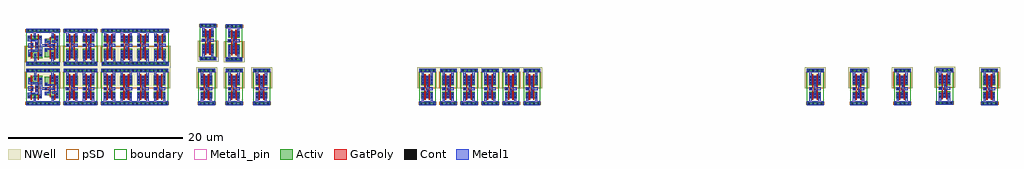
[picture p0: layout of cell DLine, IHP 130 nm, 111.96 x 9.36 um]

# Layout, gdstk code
import gdstk
lib = gdstk.Library(unit=1e-6, precision=1e-09)
def R(c, l, rs):  # rectangles x0, y0, x1, y1
    for r in rs: c.add(gdstk.rectangle(r[:2], r[2:], *l))
def A(c, l, x, y, w, h, nx, ny, dx, dy):  # array of equal rectangles
    R(c, l, [(x+i*dx, y+j*dy, x+i*dx+w, y+j*dy+h) for i in range(nx) for j in range(ny)])
def P(c, l, *ps):  # polygons
    for p in ps: c.add(gdstk.Polygon(p, *l))
Activ = (1, 0)
GatPoly = (5, 0)
Cont = (6, 0)
Metal1 = (8, 0)
Metal1_pin = (8, 2)
pSD = (14, 0)
NWell = (31, 0)
boundary = (189, 4)

sg13g2_dlygate4sd1_1 = lib.new_cell('sg13g2_dlygate4sd1_1')
R(sg13g2_dlygate4sd1_1, Activ, [(0,-0.15,3.84,0.15), (0.19,0.59,1.81,1.01), (0,3.63,3.84,3.93)])
P(sg13g2_dlygate4sd1_1, Activ, [(2.895,0.59),(2.895,0.91),(2.13,0.91),(2.13,1.33),(3.705,1.33),(3.705,0.59)],
  [(2.13,2.06),(2.13,3.06),(2.91,3.06),(2.91,3.18),(3.705,3.18),(3.705,2.06)],
  [(0.8,2.18),(0.8,2.555),(0.22,2.555),(0.22,2.975),(0.8,2.975),(0.8,3.18),(1.84,3.18),(1.84,2.18)])
P(sg13g2_dlygate4sd1_1, GatPoly, [(2.695,0.73),(2.695,1.52),(2.12,1.52),(2.12,1.85),(2.695,1.85),(2.695,3.24),(2.825,3.24),(2.825,0.73)],
  [(0.53,0.41),(0.53,1.74),(0.56,1.74),(0.56,3.155),(0.69,3.155),(0.69,1.74),(0.84,1.74),(0.84,1.41),(0.66,1.41),(0.66,0.41)],
  [(1.34,0.41),(1.34,1.35),(1.05,1.35),(1.05,2.02),(1.34,2.02),(1.34,3.36),(1.47,3.36),(1.47,0.41)],
  [(3.235,0.41),(3.235,1.515),(3.02,1.515),(3.02,1.845),(3.235,1.845),(3.235,3.36),(3.365,3.36),(3.365,0.41)])
A(sg13g2_dlygate4sd1_1, Cont, 0.16, -0.08, 0.16, 0.16, 8, 2, 0.48, 3.78)
A(sg13g2_dlygate4sd1_1, Cont, 0.26, 0.66, 0.16, 0.16, 3, 1, 0.66, 0)
A(sg13g2_dlygate4sd1_1, Cont, 3.475, 2.27, 0.16, 0.16, 1, 3, 0, 0.34)
R(sg13g2_dlygate4sd1_1, Cont, [(2.965,0.66,3.125,0.82), (3.475,0.66,3.635,0.82), (3.475,1,3.635,1.16), (2.2,1.015,2.36,1.175), (1.165,1.435,1.325,1.595), (0.605,1.495,0.765,1.655), (3.105,1.6,3.265,1.76), (2.205,1.605,2.365,1.765), (1.165,1.775,1.325,1.935), (2.215,2.165,2.375,2.325), (2.95,2.495,3.11,2.655), (0.29,2.7,0.45,2.86), (0.96,2.7,1.12,2.86), (1.61,2.7,1.77,2.86), (2.95,2.835,3.11,2.995)])
R(sg13g2_dlygate4sd1_1, Metal1, [(3.025,1.12,3.685,1.37), (0.24,1.425,0.835,1.945)])
P(sg13g2_dlygate4sd1_1, Metal1, [(2.155,0.96),(2.155,1.36),(2.595,1.36),(2.595,1.81),(3.045,1.81),(3.045,2.03),(2.14,2.03),(2.14,2.395),(2.45,2.395),(2.45,2.205),(3.235,2.205),(3.235,1.81),(3.315,1.81),(3.315,1.55),(2.755,1.55),(2.755,1.16),(2.395,1.16),(2.395,0.96)],
  [(3.425,0.61),(3.425,1.37),(3.495,1.37),(3.495,2.22),(3.43,2.22),(3.43,3.16),(3.685,3.16),(3.685,0.61)],
  [(1.52,0.615),(1.52,0.87),(1.58,0.87),(1.58,2.615),(1.52,2.615),(1.52,2.945),(1.825,2.945),(1.825,1.83),(2.415,1.83),(2.415,1.57),(1.81,1.57),(1.81,0.615)],
  [(0.21,0.61),(0.21,1.24),(1.12,1.24),(1.12,2.195),(0.24,2.195),(0.24,2.91),(0.5,2.91),(0.5,2.4),(1.375,2.4),(1.375,1.065),(0.48,1.065),(0.48,0.61)],
  [(2.9,2.455),(2.9,3.56),(1.17,3.56),(1.17,2.65),(0.91,2.65),(0.91,3.56),(0,3.56),(0,4),(3.84,4),(3.84,3.56),(3.16,3.56),(3.16,2.455)],
  [(0,-0.22),(0,0.22),(0.87,0.22),(0.87,0.87),(1.13,0.87),(1.13,0.22),(2.915,0.22),(2.915,0.87),(3.175,0.87),(3.175,0.22),(3.84,0.22),(3.84,-0.22)])
R(sg13g2_dlygate4sd1_1, Metal1_pin, [(0,-0.22,3.84,0.22), (3.025,1.12,3.685,1.37), (0.24,1.425,0.835,1.945), (0,3.56,3.84,4)])
R(sg13g2_dlygate4sd1_1, pSD, [(-0.07,-0.18,3.91,0.18), (-0.07,1.76,3.91,3.6)])
R(sg13g2_dlygate4sd1_1, NWell, [(-0.24,1.75,4.08,4.17)])
R(sg13g2_dlygate4sd1_1, boundary, [(0,0,3.84,3.78)])
sg13g2_dlygate4sd1_1.add(gdstk.Label('X', (3.36,1.26), layer=8, texttype=25))
sg13g2_dlygate4sd1_1.add(gdstk.Label('VDD', (2.085,3.79), layer=8, texttype=25))
sg13g2_dlygate4sd1_1.add(gdstk.Label('VSS', (2.2,0.005), layer=8, texttype=25))
sg13g2_dlygate4sd1_1.add(gdstk.Label('A', (0.52,1.68), layer=8, texttype=25))

sg13g2_inv_2 = lib.new_cell('sg13g2_inv_2')
R(sg13g2_inv_2, Activ, [(0,-0.15,1.92,0.15), (0.265,0.59,1.585,1.33), (0.265,2.06,1.59,3.18), (0,3.63,1.92,3.93)])
P(sg13g2_inv_2, GatPoly, [(0.605,0.41),(0.605,1.52),(0.305,1.52),(0.305,1.85),(0.605,1.85),(0.605,3.36),(0.735,3.36),(0.735,1.67),(1.115,1.67),(1.115,3.36),(1.245,3.36),(1.245,0.41),(1.115,0.41),(1.115,1.52),(0.735,1.52),(0.735,0.41)])
A(sg13g2_inv_2, Cont, 0.335, 0.66, 0.16, 0.16, 3, 2, 0.51, 0.34)
A(sg13g2_inv_2, Cont, 0.335, 2.27, 0.16, 0.16, 1, 3, 0, 0.34)
A(sg13g2_inv_2, Cont, 0.845, 2.27, 0.16, 0.16, 1, 3, 0, 0.34)
A(sg13g2_inv_2, Cont, 1.36, 2.27, 0.16, 0.16, 1, 3, 0, 0.34)
R(sg13g2_inv_2, Cont, [(0.16,-0.08,0.32,0.08), (0.16,-0.08,0.32,0.08), (0.64,-0.08,0.8,0.08), (0.64,-0.08,0.8,0.08), (1.12,-0.08,1.28,0.08), (1.12,-0.08,1.28,0.08), (1.6,-0.08,1.76,0.08), (1.6,-0.08,1.76,0.08), (0.39,1.605,0.55,1.765), (0.16,3.7,0.32,3.86), (0.16,3.7,0.32,3.86), (0.64,3.7,0.8,3.86), (0.64,3.7,0.8,3.86), (1.12,3.7,1.28,3.86), (1.12,3.7,1.28,3.86), (1.6,3.7,1.76,3.86), (1.6,3.7,1.76,3.86)])
R(sg13g2_inv_2, Metal1, [(0.255,1.52,0.635,1.85)])
P(sg13g2_inv_2, Metal1, [(0.285,2.22),(0.285,3.56),(0,3.56),(0,4),(1.92,4),(1.92,3.56),(1.57,3.56),(1.57,2.22),(1.31,2.22),(1.31,3.56),(0.545,3.56),(0.545,2.22)],
  [(0,-0.22),(0,0.22),(0.285,0.22),(0.285,1.21),(0.545,1.21),(0.545,0.22),(1.305,0.22),(1.305,1.21),(1.565,1.21),(1.565,0.22),(1.92,0.22),(1.92,-0.22)],
  [(0.795,0.61),(0.795,1.21),(0.87,1.21),(0.87,2.22),(0.795,2.22),(0.795,3.18),(1.055,3.18),(1.055,1.85),(1.59,1.85),(1.59,1.52),(1.055,1.52),(1.055,0.61)])
R(sg13g2_inv_2, Metal1_pin, [(0,-0.22,1.92,0.22), (0.255,1.52,0.635,1.85), (0.87,1.52,1.59,1.85), (0,3.56,1.92,4)])
R(sg13g2_inv_2, pSD, [(-0.07,-0.18,1.99,0.18), (-0.07,1.76,1.99,3.6)])
R(sg13g2_inv_2, NWell, [(-0.24,1.75,2.16,4.17)])
R(sg13g2_inv_2, boundary, [(0,0,1.92,3.78)])
sg13g2_inv_2.add(gdstk.Label('VSS', (0.89,0), layer=8, texttype=25))
sg13g2_inv_2.add(gdstk.Label('VDD', (0.935,3.785), layer=8, texttype=25))
sg13g2_inv_2.add(gdstk.Label('Y', (1.44,1.68), layer=8, texttype=25))
sg13g2_inv_2.add(gdstk.Label('A', (0.48,1.68), layer=8, texttype=25))

dline = lib.new_cell('DLine')
dline.add(gdstk.Reference(sg13g2_dlygate4sd1_1, (4.32,8.34), x_reflection=True))
dline.add(gdstk.Reference(sg13g2_dlygate4sd1_1, (4.318,0)))
dline.add(gdstk.Reference(sg13g2_inv_2, (8.64,0)))
dline.add(gdstk.Reference(sg13g2_inv_2, (8.644,8.34), x_reflection=True))
dline.add(gdstk.Reference(sg13g2_inv_2, (10.559,0)))
dline.add(gdstk.Reference(sg13g2_inv_2, (10.564,8.34), x_reflection=True))
dline.add(gdstk.Reference(sg13g2_inv_2, (12.96,0)))
dline.add(gdstk.Reference(sg13g2_inv_2, (12.98,8.34), x_reflection=True))
dline.add(gdstk.Reference(sg13g2_inv_2, (14.88,0)))
dline.add(gdstk.Reference(sg13g2_inv_2, (14.9,8.34), x_reflection=True))
dline.add(gdstk.Reference(sg13g2_inv_2, (16.8,0)))
dline.add(gdstk.Reference(sg13g2_inv_2, (16.82,8.34), x_reflection=True))
dline.add(gdstk.Reference(sg13g2_inv_2, (18.72,0)))
dline.add(gdstk.Reference(sg13g2_inv_2, (18.738,8.338), x_reflection=True))
dline.add(gdstk.Reference(sg13g2_inv_2, (24.07,0)))
dline.add(gdstk.Reference(sg13g2_inv_2, (24.24,8.92), x_reflection=True))
dline.add(gdstk.Reference(sg13g2_inv_2, (27.23,0)))
dline.add(gdstk.Reference(sg13g2_inv_2, (27.22,8.86), x_reflection=True))
dline.add(gdstk.Reference(sg13g2_inv_2, (30.385,0)))
dline.add(gdstk.Reference(sg13g2_inv_2, (49.405,0)))
dline.add(gdstk.Reference(sg13g2_inv_2, (51.803,0)))
dline.add(gdstk.Reference(sg13g2_inv_2, (54.201,0)))
dline.add(gdstk.Reference(sg13g2_inv_2, (56.599,0)))
dline.add(gdstk.Reference(sg13g2_inv_2, (58.997,0)))
dline.add(gdstk.Reference(sg13g2_inv_2, (61.395,0)))
dline.add(gdstk.Reference(sg13g2_inv_2, (93.888,0)))
dline.add(gdstk.Reference(sg13g2_inv_2, (98.886,0)))
dline.add(gdstk.Reference(sg13g2_inv_2, (103.884,0)))
dline.add(gdstk.Reference(sg13g2_inv_2, (108.753,0.037)))
dline.add(gdstk.Reference(sg13g2_inv_2, (113.88,0)))

lib.write_gds('DLine.gds')
